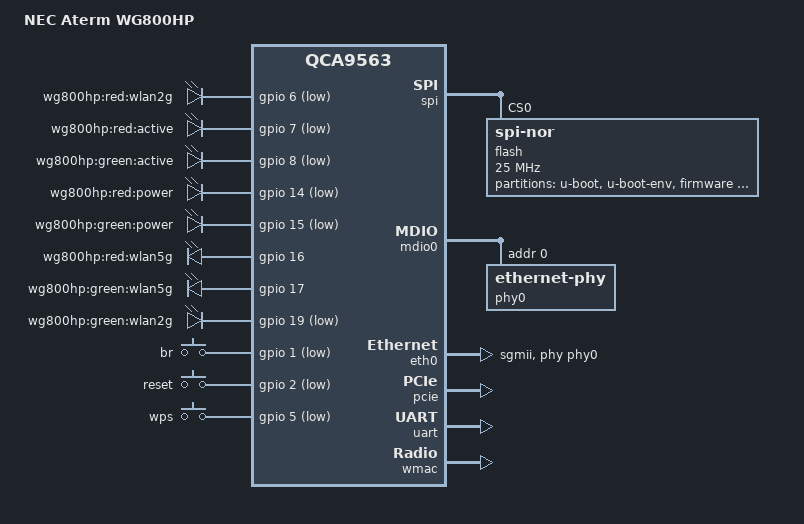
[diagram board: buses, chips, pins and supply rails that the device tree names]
// SPDX-License-Identifier: GPL-2.0-or-later OR MIT
/dts-v1/;

#include <dt-bindings/gpio/gpio.h>
#include <dt-bindings/input/input.h>

#include "qca956x.dtsi"

/ {
	model = "NEC Aterm WG800HP";
	compatible = "nec,wg800hp", "qca,qca9563";

	chosen {
		bootargs = "console=ttyS0,115200n8";
	};

	aliases {
		led-boot = &led_power_green;
		led-failsafe = &led_power_red;
		led-running = &led_power_green;
		led-upgrade = &led_power_green;
	};

	leds {
		compatible = "gpio-leds";
		pinctrl-names = "default";
		pinctrl-0 = <&jtag_disable_pins>;

		wlan2g_red {
			label = "wg800hp:red:wlan2g";
			gpios = <&gpio 6 GPIO_ACTIVE_LOW>;
		};

		active_red {
			label = "wg800hp:red:active";
			gpios = <&gpio 7 GPIO_ACTIVE_LOW>;
		};

		active_green {
			label = "wg800hp:green:active";
			gpios = <&gpio 8 GPIO_ACTIVE_LOW>;
		};

		led_power_red: power_red {
			label = "wg800hp:red:power";
			gpios = <&gpio 14 GPIO_ACTIVE_LOW>;
		};

		led_power_green: power_green {
			label = "wg800hp:green:power";
			gpios = <&gpio 15 GPIO_ACTIVE_LOW>;
			default-state = "on";
		};

		wlan5g_red {
			label = "wg800hp:red:wlan5g";
			gpios = <&gpio 16 GPIO_ACTIVE_HIGH>;
		};

		wlan5g_green {
			label = "wg800hp:green:wlan5g";
			gpios = <&gpio 17 GPIO_ACTIVE_HIGH>;
			linux,default-trigger = "phy0tpt";
		};

		wlan2g_green {
			label = "wg800hp:green:wlan2g";
			gpios = <&gpio 19 GPIO_ACTIVE_LOW>;
			linux,default-trigger = "phy1tpt";
		};
	};

	keys {
		compatible = "gpio-keys";

		br {
			label = "br";
			gpios = <&gpio 1 GPIO_ACTIVE_LOW>;
			linux,code = <BTN_0>;
			linux,input-type = <EV_SW>;
			debounce-interval = <60>;
		};

		reset {
			label = "reset";
			gpios = <&gpio 2 GPIO_ACTIVE_LOW>;
			linux,code = <KEY_RESTART>;
			debounce-interval = <60>;
		};

		wps {
			label = "wps";
			gpios = <&gpio 5 GPIO_ACTIVE_LOW>;
			linux,code = <KEY_WPS_BUTTON>;
			debounce-interval = <60>;
		};
	};
};

&spi {
	status = "okay";
	num-cs = <1>;

	flash@0 {
		compatible = "jedec,spi-nor";
		reg = <0>;
		spi-max-frequency = <25000000>;

		partitions {
			compatible = "fixed-partitions";
			#address-cells = <1>;
			#size-cells = <1>;

			partition@0 {
				label = "u-boot";
				reg = <0x000000 0x040000>;
				read-only;
			};

			partition@40000 {
				label = "u-boot-env";
				reg = <0x040000 0x010000>;
				read-only;
			};

			partition@50000 {
				compatible = "denx,uimage";
				label = "firmware";
				reg = <0x050000 0x6f0000>;
			};

			partition@740000 {
				label = "user_data";
				reg = <0x740000 0x0a0000>;
				read-only;
			};

			partition@7e0000 {
				label = "board_data";
				reg = <0x7e0000 0x010000>;
				read-only;
			};

			art: partition@7f0000 {
				label = "art";
				reg = <0x7f0000 0x010000>;
				read-only;
			};
		};
	};
};

&mdio0 {
	status = "okay";

	phy0: ethernet-phy@0 {
		reg = <0>;

		qca,ar8327-initvals = <
			0x04 0x00000080 /* PORT0 PAD MODE CTRL */
			0x50 0xcc35cc35 /* LED_CTRL0 */
			0x54 0xca35ca35 /* LED_CTRL1 */
			0x58 0xc935c935 /* LED_CTRL2 */
			0x5c 0x03ffff00 /* LED_CTRL3 */
			0x7c 0x0000007e /* PORT0_STATUS */
		>;
	};
};

&eth0 {
	status = "okay";

	phy-mode = "sgmii";
	phy-handle = <&phy0>;
};

&pcie {
	status = "okay";
};

&uart {
	status = "okay";
};

&wmac {
	status = "okay";
	qca,no-eeprom;
};
